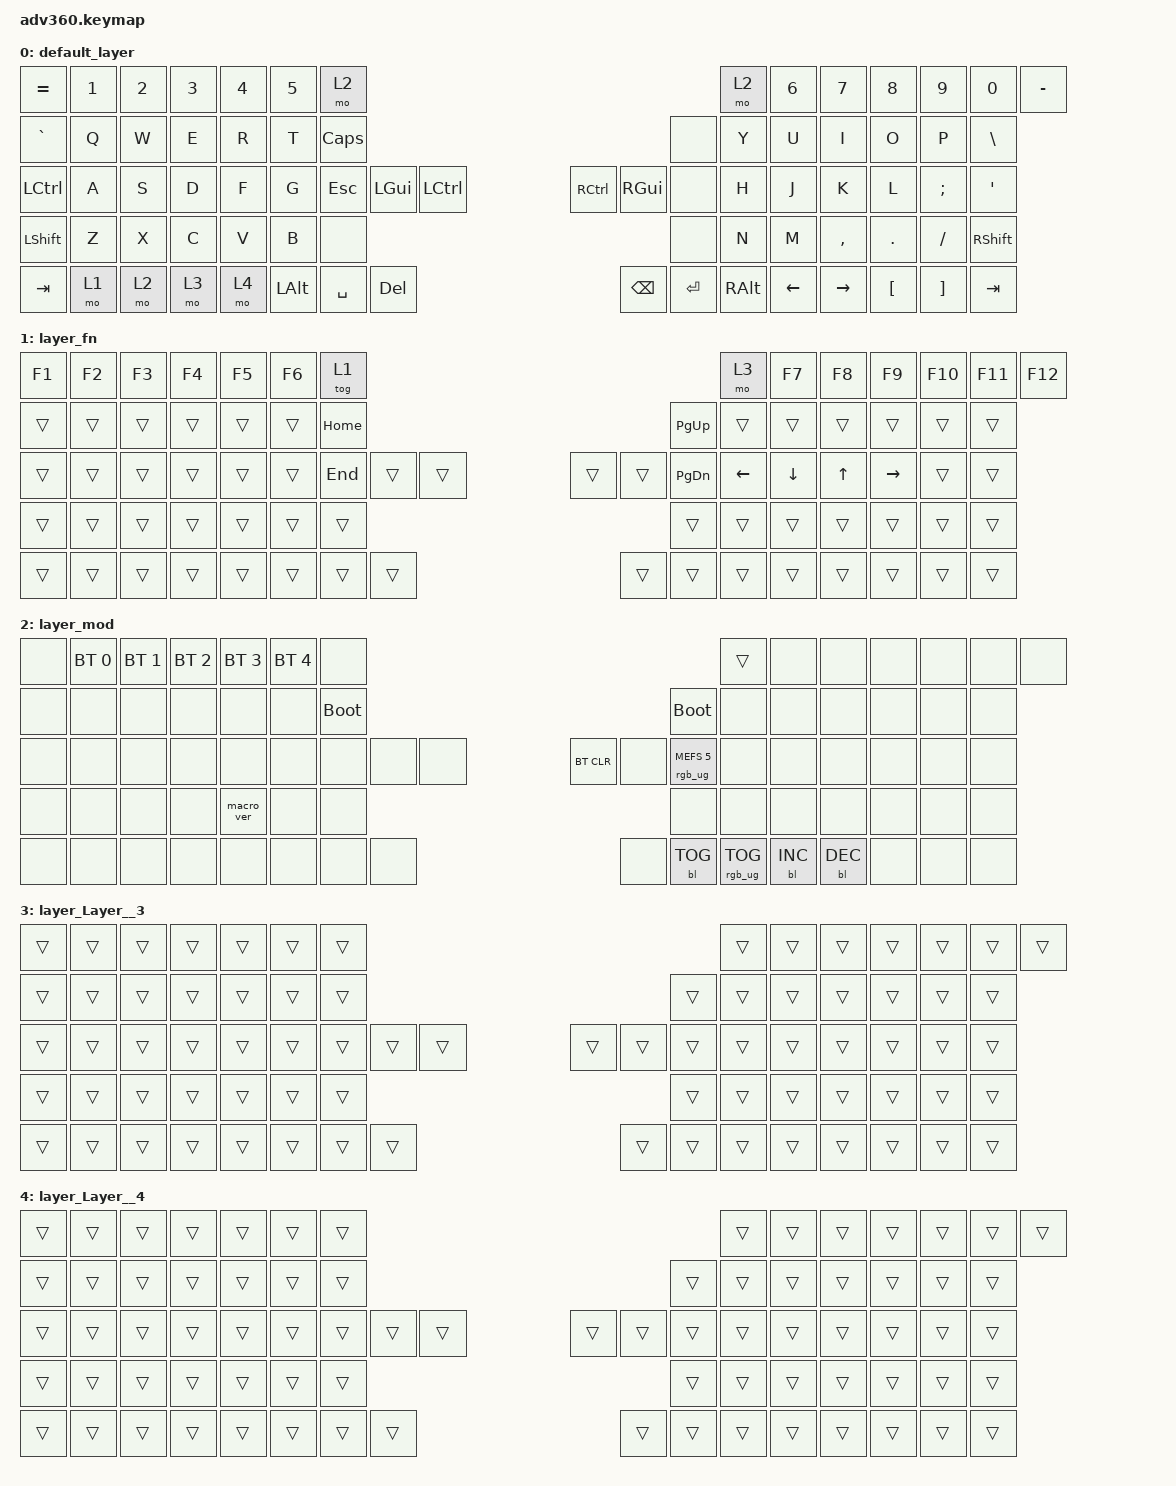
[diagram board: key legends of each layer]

/*
 * Copyright (c) 2020 The ZMK Contributors
 *
 * SPDX-License-Identifier: MIT
 */


/* THIS FILE WAS GENERATED!
 *
 * This file was generated automatically. You may or may not want to
 * edit it directly.
 */

#include <behaviors.dtsi>
#include <dt-bindings/zmk/keys.h>
#include <dt-bindings/zmk/bt.h>
#include <dt-bindings/zmk/rgb.h>
#include <dt-bindings/zmk/backlight.h>

/ {
  behaviors {
    #include "macros.dtsi"
    #include "version.dtsi"

    hm: homerow_mods {
        compatible = "zmk,behavior-hold-tap";
        label = "HOMEROW_MODS";
        #binding-cells = <2>;
        tapping-term-ms = <200>;
        quick_tap_ms = <175>;
        flavor = "tap-preferred";
        bindings = <&kp>, <&kp>;
    };
  };

    keymap {
        compatible = "zmk,keymap";


        default_layer {
            bindings = <
        &kp EQUAL  &kp N1  &kp N2  &kp N3  &kp N4  &kp N5                   &mo 2                                                                                            &mo 2  &kp N6    &kp N7     &kp N8    &kp N9    &kp N0  &kp MINUS
        &kp GRAVE   &kp Q   &kp W   &kp E   &kp R   &kp T            &kp CAPSLOCK                                                                                            &none   &kp Y     &kp U      &kp I     &kp O     &kp P   &kp BSLH
 &kp LEFT_CONTROL   &kp A   &kp S   &kp D   &kp F   &kp G              &kp ESCAPE  &kp LEFT_GUI  &kp LEFT_CONTROL                  &kp RIGHT_CONTROL  &kp RIGHT_GUI          &none   &kp H     &kp J      &kp K     &kp L  &kp SEMI    &kp SQT
        &kp LSHFT   &kp Z   &kp X   &kp C   &kp V   &kp B                                                   &none                              &none                                 &kp N     &kp M  &kp COMMA   &kp DOT  &kp FSLH  &kp RSHFT
          &kp TAB   &mo 1   &mo 2   &mo 3   &mo 4                    &kp LEFT_ALT     &kp SPACE        &kp DELETE                      &kp BACKSPACE      &kp ENTER  &kp RIGHT_ALT          &kp LEFT  &kp RIGHT  &kp LBKT  &kp RBKT    &kp TAB
            >;
        };

        layer_fn {
            bindings = <
 &kp F1  &kp F2  &kp F3  &kp F4  &kp F5  &kp F6              &tog 1                                                          &mo 3    &kp F7    &kp F8  &kp F9    &kp F10  &kp F11  &kp F12
 &trans  &trans  &trans  &trans  &trans  &trans            &kp HOME                                                    &kp PAGE_UP    &trans    &trans  &trans     &trans   &trans   &trans
 &trans  &trans  &trans  &trans  &trans  &trans             &kp END  &trans  &trans                  &trans  &trans  &kp PAGE_DOWN  &kp LEFT  &kp DOWN  &kp UP  &kp RIGHT   &trans   &trans
 &trans  &trans  &trans  &trans  &trans  &trans                              &trans                  &trans                           &trans    &trans  &trans     &trans   &trans   &trans
 &trans  &trans  &trans  &trans  &trans                      &trans  &trans  &trans                  &trans  &trans         &trans              &trans  &trans     &trans   &trans   &trans
            >;
        };

        layer_mod {
            bindings = <
  &none  &bt BT_SEL 0  &bt BT_SEL 1  &bt BT_SEL 2  &bt BT_SEL 3  &bt BT_SEL 4                  &none                                                                          &trans   &none       &none       &none   &none   &none   &none
  &none         &none         &none         &none         &none         &none            &bootloader                                                                     &bootloader   &none       &none       &none   &none   &none   &none
  &none         &none         &none         &none         &none         &none                  &none   &none   &none                  &bt BT_CLR       &none  &rgb_ug RGB_MEFS_CMD 5   &none       &none       &none   &none   &none   &none
  &none         &none         &none         &none    &macro_ver         &none                                  &none                       &none                                       &none       &none       &none   &none   &none   &none
  &none         &none         &none         &none         &none                                &none   &none   &none                       &none  &bl BL_TOG         &rgb_ug RGB_TOG          &bl BL_INC  &bl BL_DEC   &none   &none   &none
            >;
        };

        layer_Layer__3 {
            bindings = <
 &trans  &trans  &trans  &trans  &trans  &trans            &trans                                                  &trans  &trans  &trans  &trans  &trans  &trans  &trans
 &trans  &trans  &trans  &trans  &trans  &trans            &trans                                                  &trans  &trans  &trans  &trans  &trans  &trans  &trans
 &trans  &trans  &trans  &trans  &trans  &trans            &trans  &trans  &trans                  &trans  &trans  &trans  &trans  &trans  &trans  &trans  &trans  &trans
 &trans  &trans  &trans  &trans  &trans  &trans                            &trans                  &trans                  &trans  &trans  &trans  &trans  &trans  &trans
 &trans  &trans  &trans  &trans  &trans                    &trans  &trans  &trans                  &trans  &trans  &trans          &trans  &trans  &trans  &trans  &trans
            >;
        };

        layer_Layer__4 {
            bindings = <
 &trans  &trans  &trans  &trans  &trans  &trans            &trans                                                  &trans  &trans  &trans  &trans  &trans  &trans  &trans
 &trans  &trans  &trans  &trans  &trans  &trans            &trans                                                  &trans  &trans  &trans  &trans  &trans  &trans  &trans
 &trans  &trans  &trans  &trans  &trans  &trans            &trans  &trans  &trans                  &trans  &trans  &trans  &trans  &trans  &trans  &trans  &trans  &trans
 &trans  &trans  &trans  &trans  &trans  &trans                            &trans                  &trans                  &trans  &trans  &trans  &trans  &trans  &trans
 &trans  &trans  &trans  &trans  &trans                    &trans  &trans  &trans                  &trans  &trans  &trans          &trans  &trans  &trans  &trans  &trans
            >;
        };

    };
};
